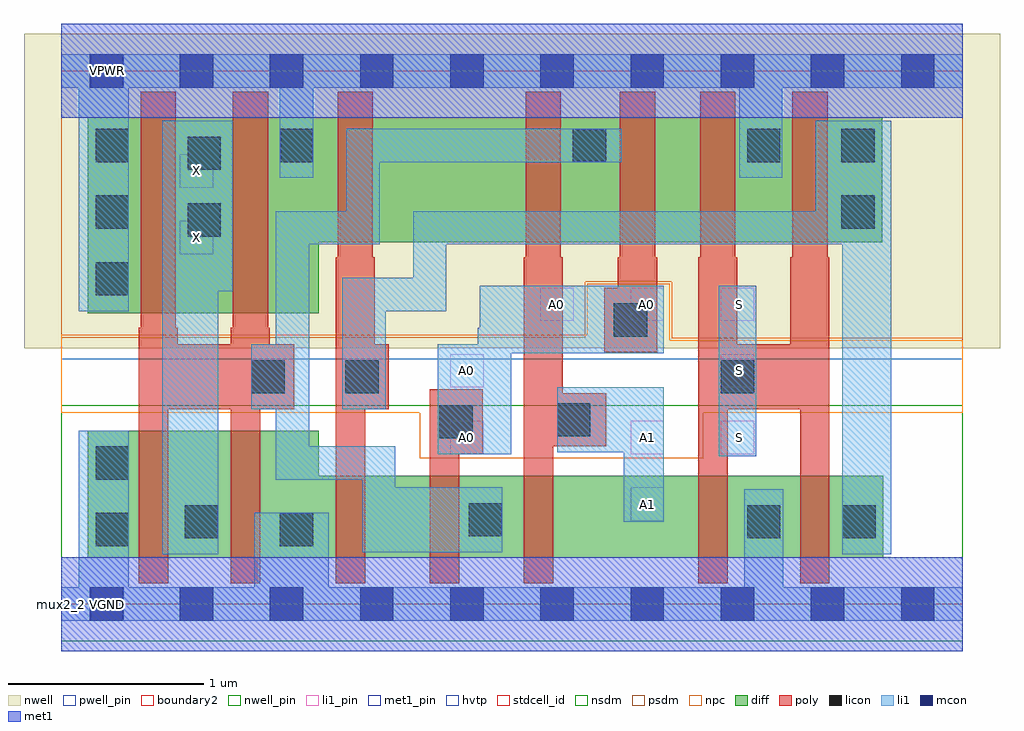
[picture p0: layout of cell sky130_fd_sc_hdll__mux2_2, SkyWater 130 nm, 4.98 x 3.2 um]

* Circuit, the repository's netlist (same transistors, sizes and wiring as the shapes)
* Copyright 2020 The SkyWater PDK Authors
*
* Licensed under the Apache License, Version 2.0 (the "License");
* you may not use this file except in compliance with the License.
* You may obtain a copy of the License at
*
*     https://www.apache.org/licenses/LICENSE-2.0
*
* Unless required by applicable law or agreed to in writing, software
* distributed under the License is distributed on an "AS IS" BASIS,
* WITHOUT WARRANTIES OR CONDITIONS OF ANY KIND, either express or implied.
* See the License for the specific language governing permissions and
* limitations under the License.
*
* SPDX-License-Identifier: Apache-2.0

.SUBCKT sky130_fd_sc_hdll__mux2_2 A0 A1 S VGND VNB VPB VPWR X
*.PININFO A0:I A1:I S:I VGND:I VNB:I VPB:I VPWR:I X:O
MMNA00 xb A0 smdNA0 VNB sky130_fd_pr__nfet_01v8 m=1 w=0.42U l=0.15U mult=1 sa=0.265
+ sb=0.265 sd=0.28 area=0.063 perim=1.14
MMNA01 smdNA0 Sb VGND VNB sky130_fd_pr__nfet_01v8 m=1 w=0.42U l=0.15U mult=1 sa=0.265
+ sb=0.265 sd=0.28 area=0.063 perim=1.14
MMNA10 xb A1 sndNA1 VNB sky130_fd_pr__nfet_01v8 m=1 w=0.42U l=0.15U mult=1 sa=0.265
+ sb=0.265 sd=0.28 area=0.063 perim=1.14
MMNA11 sndNA1 S VGND VNB sky130_fd_pr__nfet_01v8 m=1 w=0.42U l=0.15U mult=1 sa=0.265
+ sb=0.265 sd=0.28 area=0.063 perim=1.14
MMIN1 Sb S VGND VNB sky130_fd_pr__nfet_01v8 m=1 w=0.42U l=0.15U mult=1 sa=0.265
+ sb=0.265 sd=0.28 area=0.063 perim=1.14
MMIN2 X xb VGND VNB sky130_fd_pr__nfet_01v8 m=2 w=0.65U l=0.15U mult=1 sa=0.265
+ sb=0.265 sd=0.28 area=0.063 perim=1.14
MMPA00 VPWR S sndPS VPB sky130_fd_pr__pfet_01v8_hvt m=1 w=0.64U l=0.18U mult=1
+ sa=0.265 sb=0.265 sd=0.28 area=0.063 perim=1.14
MMPA01 sndPS A0 xb VPB sky130_fd_pr__pfet_01v8_hvt m=1 w=0.64U l=0.18U mult=1 sa=0.265
+ sb=0.265 sd=0.28 area=0.063 perim=1.14
MMPA10 VPWR Sb sndPSb VPB sky130_fd_pr__pfet_01v8_hvt m=1 w=0.64U l=0.18U mult=1
+ sa=0.265 sb=0.265 sd=0.28 area=0.063 perim=1.14
MMPA11 sndPSb A1 xb VPB sky130_fd_pr__pfet_01v8_hvt m=1 w=0.64U l=0.18U mult=1
+ sa=0.265 sb=0.265 sd=0.28 area=0.063 perim=1.14
MMIP1 Sb S VPWR VPB sky130_fd_pr__pfet_01v8_hvt m=1 w=0.64U l=0.18U mult=1 sa=0.265
+ sb=0.265 sd=0.28 area=0.063 perim=1.14
MMIP2 X xb VPWR VPB sky130_fd_pr__pfet_01v8_hvt m=2 w=1.0U l=0.18U mult=1 sa=0.265
+ sb=0.265 sd=0.28 area=0.063 perim=1.14
.ENDS sky130_fd_sc_hdll__mux2_2

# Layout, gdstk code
import gdstk
lib = gdstk.Library(unit=1e-6, precision=1e-09)
def R(c, l, rs):  # rectangles x0, y0, x1, y1
    for r in rs: c.add(gdstk.rectangle(r[:2], r[2:], *l))
def A(c, l, x, y, w, h, nx, ny, dx, dy):  # array of equal rectangles
    R(c, l, [(x+i*dx, y+j*dy, x+i*dx+w, y+j*dy+h) for i in range(nx) for j in range(ny)])
def P(c, l, *ps):  # polygons
    for p in ps: c.add(gdstk.Polygon(p, *l))
nwell_pin = (64, 16)
nwell = (64, 20)
diff = (65, 20)
poly = (66, 20)
licon = (66, 44)
li1_pin = (67, 16)
li1 = (67, 20)
mcon = (67, 44)
met1_pin = (68, 16)
met1 = (68, 20)
hvtp = (78, 44)
stdcell_id = (81, 4)
nsdm = (93, 44)
psdm = (94, 20)
npc = (95, 20)
pwell_pin = (122, 16)
boundary2 = (236, 0)

sky130_fd_sc_hdll__mux2_ = lib.new_cell('sky130_fd_sc_hdll__mux2_2')
R(sky130_fd_sc_hdll__mux2_, nwell_pin, [(0.15,2.635,0.32,2.805)])
R(sky130_fd_sc_hdll__mux2_, nwell, [(-0.19,1.305,4.79,2.91)])
P(sky130_fd_sc_hdll__mux2_, diff, [(4.195,0.655),(1.315,0.655),(1.315,0.885),(0.135,0.885),(0.135,0.235),(4.195,0.235)],
  [(4.19,2.485),(0.135,2.485),(0.135,1.485),(1.315,1.485),(1.315,1.845),(4.19,1.845)])
P(sky130_fd_sc_hdll__mux2_, poly, [(1.19,1.325),(1.065,1.325),(1.065,1.41),(1.055,1.41),(1.055,2.615),(0.875,2.615),(0.875,1.41),(0.865,1.41),(0.865,1.325),(0.595,1.325),(0.595,1.41),(0.585,1.41),(0.585,2.615),(0.405,2.615),(0.405,1.41),(0.395,1.41),(0.395,0.105),(0.545,0.105),(0.545,0.995),(0.865,0.995),(0.865,0.105),(1.015,0.105),(1.015,0.995),(1.19,0.995)],
  [(1.67,1.325),(1.6,1.325),(1.6,1.77),(1.59,1.77),(1.59,2.615),(1.41,2.615),(1.41,1.77),(1.4,1.77),(1.4,0.105),(1.55,0.105),(1.55,0.995),(1.67,0.995)],
  [(2.15,1.095),(1.88,1.095),(1.88,0.105),(2.03,0.105),(2.03,0.765),(2.15,0.765)],
  [(2.78,1.075),(2.56,1.075),(2.56,1.77),(2.55,1.77),(2.55,2.615),(2.37,2.615),(2.37,1.77),(2.36,1.77),(2.36,0.105),(2.51,0.105),(2.51,0.805),(2.78,0.805)],
  [(3.04,1.77),(3.03,1.77),(3.03,2.615),(2.85,2.615),(2.85,1.77),(2.84,1.77),(2.84,1.615),(2.77,1.615),(2.77,1.285),(3.04,1.285)],
  [(3.92,1.77),(3.91,1.77),(3.91,2.615),(3.73,2.615),(3.73,1.77),(3.72,1.77),(3.72,1.325),(3.45,1.325),(3.45,1.77),(3.44,1.77),(3.44,2.615),(3.26,2.615),(3.26,1.77),(3.25,1.77),(3.25,0.105),(3.4,0.105),(3.4,0.995),(3.77,0.995),(3.77,0.105),(3.92,0.105)])
A(sky130_fd_sc_hdll__mux2_, licon, 0.175, 1.575, 0.17, 0.17, 1, 3, 0, 0.34)
R(sky130_fd_sc_hdll__mux2_, licon, [(0.175,0.295,0.345,0.465), (1.115,0.295,1.285,0.465), (0.63,0.335,0.8,0.505), (3.5,0.335,3.67,0.505), (3.985,0.335,4.155,0.505), (2.08,0.345,2.25,0.515), (0.175,0.635,0.345,0.805), (1.93,0.845,2.1,1.015), (2.53,0.855,2.7,1.025), (0.97,1.075,1.14,1.245), (1.45,1.075,1.62,1.245), (3.365,1.075,3.535,1.245), (2.82,1.365,2.99,1.535), (0.645,1.875,0.815,2.045), (3.98,1.915,4.15,2.085), (0.645,2.215,0.815,2.385), (1.115,2.255,1.285,2.425), (2.61,2.255,2.78,2.425), (3.5,2.255,3.67,2.425), (3.98,2.255,4.15,2.425)])
A(sky130_fd_sc_hdll__mux2_, li1_pin, 2.445, 1.445, 0.17, 0.17, 3, 1, 0.46, 0)
R(sky130_fd_sc_hdll__mux2_, li1_pin, [(2.905,0.425,3.075,0.595), (1.985,0.765,2.155,0.935), (2.905,0.765,3.075,0.935), (3.365,0.765,3.535,0.935), (1.985,1.105,2.155,1.275), (3.365,1.105,3.535,1.275), (0.605,1.785,0.775,1.955), (0.605,2.125,0.775,2.295)])
R(sky130_fd_sc_hdll__mux2_, li1, [(3.355,0.755,3.545,1.625)])
P(sky130_fd_sc_hdll__mux2_, li1, [(3.075,1.625),(2.135,1.625),(2.135,1.41),(2.125,1.41),(2.125,1.325),(1.92,1.325),(1.92,0.765),(2.295,0.765),(2.295,1.28),(3.075,1.28)],
  [(3.075,1.105),(2.53,1.105),(2.53,0.775),(2.87,0.775),(2.87,0.42),(3.075,0.42)],
  [(4.6,0.085),(3.685,0.085),(3.685,0.585),(3.485,0.585),(3.485,0.085),(1.365,0.085),(1.365,0.465),(0.985,0.465),(0.985,0.085),(0.345,0.085),(0.345,0.885),(0.09,0.885),(0.09,0.085),(0,0.085),(0,-0.085),(4.6,-0.085)],
  [(4.6,2.805),(0,2.805),(0,2.635),(0.09,2.635),(0.09,1.495),(0.345,1.495),(0.345,2.635),(1.115,2.635),(1.115,2.175),(1.285,2.175),(1.285,2.635),(3.46,2.635),(3.46,2.175),(3.68,2.175),(3.68,2.635),(4.6,2.635)],
  [(4.235,2.465),(3.85,2.465),(3.85,2.005),(1.795,2.005),(1.795,1.665),(1.435,1.665),(1.435,0.995),(1.655,0.995),(1.655,1.495),(1.965,1.495),(1.965,1.835),(3.985,1.835),(3.985,0.255),(4.235,0.255)],
  [(2.86,2.425),(1.455,2.425),(1.455,2.005),(1.095,2.005),(1.095,1.325),(0.97,1.325),(0.97,0.995),(1.095,0.995),(1.095,0.635),(1.535,0.635),(1.535,0.265),(2.25,0.265),(2.25,0.595),(1.705,0.595),(1.705,0.805),(1.265,0.805),(1.265,1.835),(1.625,1.835),(1.625,2.255),(2.86,2.255)],
  [(0.875,2.465),(0.515,2.465),(0.515,0.255),(0.8,0.255),(0.8,1.595),(0.875,1.595)])
A(sky130_fd_sc_hdll__mux2_, mcon, 0.145, -0.085, 0.17, 0.17, 10, 2, 0.46, 2.72)
R(sky130_fd_sc_hdll__mux2_, met1_pin, [(0.15,-0.085,0.32,0.085), (0.15,2.635,0.32,2.805)])
R(sky130_fd_sc_hdll__mux2_, met1, [(0,-0.24,4.6,0.24), (0,2.48,4.6,2.96)])
R(sky130_fd_sc_hdll__mux2_, hvtp, [(0,1.25,4.6,2.72)])
R(sky130_fd_sc_hdll__mux2_, stdcell_id, [(0,0,4.6,2.72)])
R(sky130_fd_sc_hdll__mux2_, nsdm, [(0,-0.19,4.6,1.015)])
P(sky130_fd_sc_hdll__mux2_, psdm, [(4.6,2.91),(0,2.91),(0,1.36),(2.675,1.36),(2.675,1.645),(3.115,1.645),(3.115,1.355),(4.6,1.355)])
P(sky130_fd_sc_hdll__mux2_, npc, [(4.6,1.345),(3.105,1.345),(3.105,1.635),(2.685,1.635),(2.685,1.375),(0,1.375),(0,0.975),(1.83,0.975),(1.83,0.745),(3.275,0.745),(3.275,0.975),(4.6,0.975)])
R(sky130_fd_sc_hdll__mux2_, pwell_pin, [(0.15,-0.085,0.32,0.085)])
R(sky130_fd_sc_hdll__mux2_, boundary2, [(0,0,4.6,2.72)])
sky130_fd_sc_hdll__mux2_.add(gdstk.Label('VGND', (0.235,0), layer=68, texttype=5))
sky130_fd_sc_hdll__mux2_.add(gdstk.Label('VPWR', (0.235,2.72), layer=68, texttype=5))
sky130_fd_sc_hdll__mux2_.add(gdstk.Label('A1', (2.99,0.85), layer=67, texttype=5))
sky130_fd_sc_hdll__mux2_.add(gdstk.Label('A0', (2.525,1.53), layer=67, texttype=5))
sky130_fd_sc_hdll__mux2_.add(gdstk.Label('A0', (2.07,1.19), layer=67, texttype=5))
sky130_fd_sc_hdll__mux2_.add(gdstk.Label('A0', (2.07,0.85), layer=67, texttype=5))
sky130_fd_sc_hdll__mux2_.add(gdstk.Label('S', (3.46,0.85), layer=67, texttype=5))
sky130_fd_sc_hdll__mux2_.add(gdstk.Label('A1', (2.99,0.51), layer=67, texttype=5))
sky130_fd_sc_hdll__mux2_.add(gdstk.Label('X', (0.69,2.21), layer=67, texttype=5))
sky130_fd_sc_hdll__mux2_.add(gdstk.Label('X', (0.69,1.87), layer=67, texttype=5))
sky130_fd_sc_hdll__mux2_.add(gdstk.Label('A0', (2.985,1.53), layer=67, texttype=5))
sky130_fd_sc_hdll__mux2_.add(gdstk.Label('S', (3.46,1.53), layer=67, texttype=5))
sky130_fd_sc_hdll__mux2_.add(gdstk.Label('S', (3.46,1.19), layer=67, texttype=5))
sky130_fd_sc_hdll__mux2_.add(gdstk.Label('VPB', (0.235,2.72), layer=64, texttype=5))
sky130_fd_sc_hdll__mux2_.add(gdstk.Label('VNB', (0.235,0), layer=64, texttype=59))
sky130_fd_sc_hdll__mux2_.add(gdstk.Label('mux2_2', (0,0), layer=83, texttype=44))

lib.write_gds('sky130_fd_sc_hdll__mux2_2.gds')
